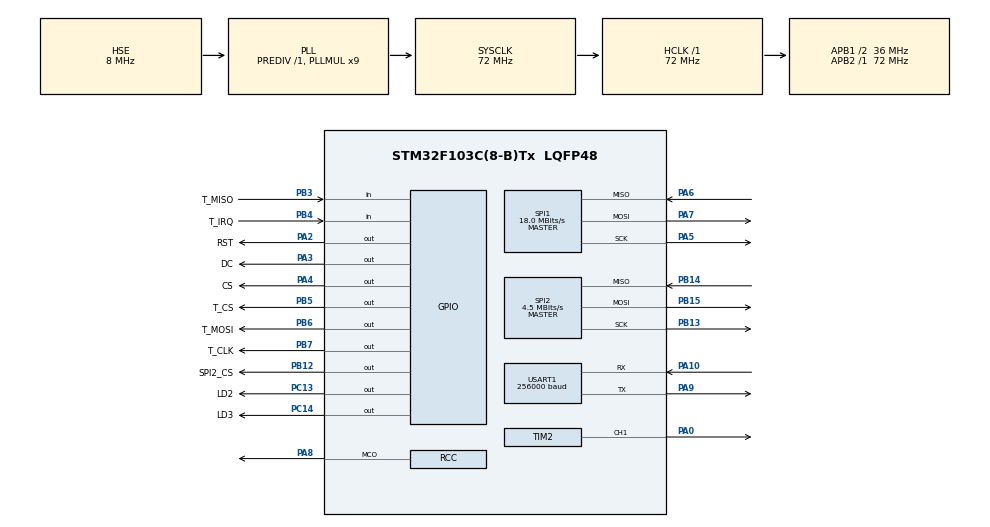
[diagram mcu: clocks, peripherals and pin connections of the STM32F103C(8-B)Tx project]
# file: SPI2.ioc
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FATFS._MAX_SS=4096
FATFS._USE_LFN=1
Mcu.Family=STM32F1
Mcu.Name=STM32F103C(8-B)Tx
Mcu.Package=LQFP48
NVIC.PriorityGroup=NVIC_PRIORITYGROUP_4
NVIC.SPI1_IRQn=true\:0\:0\:false\:false\:true\:true\:true
NVIC.TIM2_IRQn=true\:0\:0\:false\:false\:true\:true\:true
NVIC.USART1_IRQn=true\:0\:0\:false\:false\:true\:true\:true
PA0-WKUP.Signal=S_TIM2_CH1_ETR
PA10.Mode=Asynchronous
PA10.Signal=USART1_RX
PA13.Mode=Serial_Wire
PA13.Signal=SYS_JTMS-SWDIO
PA14.Mode=Serial_Wire
PA14.Signal=SYS_JTCK-SWCLK
PA2.GPIO_Label=RST
PA2.GPIO_PuPd=GPIO_NOPULL
PA2.GPIO_Speed=GPIO_SPEED_FREQ_HIGH
PA2.PinState=GPIO_PIN_SET
PA2.Signal=GPIO_Output
PA3.GPIO_Label=DC
PA3.GPIO_Speed=GPIO_SPEED_FREQ_HIGH
PA3.Signal=GPIO_Output
PA4.GPIO_Label=CS
PA4.GPIO_Speed=GPIO_SPEED_FREQ_HIGH
PA4.Signal=GPIO_Output
PA5.Mode=Full_Duplex_Master
PA5.Signal=SPI1_SCK
PA6.Mode=Full_Duplex_Master
PA6.Signal=SPI1_MISO
PA7.Mode=Full_Duplex_Master
PA7.Signal=SPI1_MOSI
PA8.Mode=Clock-out
PA8.Signal=RCC_MCO
PA9.Mode=Asynchronous
PA9.Signal=USART1_TX
PB12.GPIO_Label=SPI2_CS
PB12.PinState=GPIO_PIN_SET
PB12.Signal=GPIO_Output
PB13.Mode=Full_Duplex_Master
PB13.Signal=SPI2_SCK
PB14.Mode=Full_Duplex_Master
PB14.Signal=SPI2_MISO
PB15.Mode=Full_Duplex_Master
PB15.Signal=SPI2_MOSI
PB3.GPIO_Label=T_MISO
PB3.GPIO_PuPd=GPIO_PULLUP
PB3.Signal=GPIO_Input
PB4.GPIO_Label=T_IRQ
PB4.Signal=GPIO_Input
PB5.GPIO_Label=T_CS
PB5.GPIO_Speed=GPIO_SPEED_FREQ_HIGH
PB5.Signal=GPIO_Output
PB6.GPIO_Label=T_MOSI
PB6.GPIO_Speed=GPIO_SPEED_FREQ_HIGH
PB6.Signal=GPIO_Output
PB7.GPIO_Label=T_CLK
PB7.GPIO_Speed=GPIO_SPEED_FREQ_HIGH
PB7.Signal=GPIO_Output
PC13-TAMPER-RTC.GPIO_Label=LD2
PC13-TAMPER-RTC.GPIO_PuPd=GPIO_PULLUP
PC13-TAMPER-RTC.GPIO_Speed=GPIO_SPEED_FREQ_LOW
PC13-TAMPER-RTC.Signal=GPIO_Output
PC14-OSC32_IN.GPIO_Label=LD3
PC14-OSC32_IN.Signal=GPIO_Output
PD0-OSC_IN.Mode=HSE-External-Oscillator
PD0-OSC_IN.Signal=RCC_OSC_IN
PD1-OSC_OUT.Mode=HSE-External-Oscillator
PD1-OSC_OUT.Signal=RCC_OSC_OUT
ProjectManager.HeapSize=0x200
ProjectManager.StackSize=0x400
ProjectManager.TargetToolchain=TrueSTUDIO
RCC.AHBFreq_Value=72000000
RCC.APB1CLKDivider=RCC_HCLK_DIV2
RCC.APB1Freq_Value=36000000
RCC.APB1TimFreq_Value=72000000
RCC.APB2Freq_Value=72000000
RCC.APB2TimFreq_Value=72000000
RCC.HCLKFreq_Value=72000000
RCC.PLLMUL=RCC_PLL_MUL9
RCC.PLLSourceVirtual=RCC_PLLSOURCE_HSE
RCC.RCC_MCOSource=RCC_MCO1SOURCE_PLLCLK
RCC.SYSCLKFreq_VALUE=72000000
RCC.SYSCLKSource=RCC_SYSCLKSOURCE_PLLCLK
RCC.USBFreq_Value=72000000
SH.S_TIM2_CH1_ETR.0=TIM2_CH1,Output Compare1 CH1
SPI1.BaudRatePrescaler=SPI_BAUDRATEPRESCALER_4
SPI1.CRCCalculation=SPI_CRCCALCULATION_DISABLE
SPI1.CalculateBaudRate=18.0 MBits/s
SPI1.DataSize=SPI_DATASIZE_8BIT
SPI1.Direction=SPI_DIRECTION_2LINES
SPI1.Mode=SPI_MODE_MASTER
SPI1.VirtualType=VM_MASTER
SPI2.BaudRatePrescaler=SPI_BAUDRATEPRESCALER_8
SPI2.CalculateBaudRate=4.5 MBits/s
SPI2.Direction=SPI_DIRECTION_2LINES
SPI2.Mode=SPI_MODE_MASTER
SPI2.VirtualType=VM_MASTER
TIM1.ClockDivision=TIM_CLOCKDIVISION_DIV2
TIM1.Period=65535
TIM1.Prescaler=10000
TIM2.AutoReloadPreload=TIM_AUTORELOAD_PRELOAD_ENABLE
TIM2.Channel-Output\ Compare1\ CH1=TIM_CHANNEL_1
TIM2.ClockDivision=TIM_CLOCKDIVISION_DIV2
TIM2.OCMode_1=TIM_OCMODE_TOGGLE
TIM2.Period=1
TIM2.Prescaler=359
TIM2.Pulse-Output\ Compare1\ CH1=1
USART1.BaudRate=256000
USART1.VirtualMode=VM_ASYNC
VP_FATFS_VS_Generic.Mode=User_defined
VP_TIM1_VS_ClockSourceINT.Mode=Internal
VP_TIM2_VS_ClockSourceINT.Mode=Internal
board=custom

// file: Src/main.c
/* USER CODE BEGIN Header */
/**
 ******************************************************************************
 * @file           : main.c
 * @brief          : Main program body
 ******************************************************************************
 * @attention
 *
 * <h2><center>&copy; Copyright (c) 2019 STMicroelectronics.
 * All rights reserved.</center></h2>
 *
 * This software component is licensed by ST under BSD 3-Clause license,
 * the "License"; You may not use this file except in compliance with the
 * License. You may obtain a copy of the License at:
 *                        opensource.org/licenses/BSD-3-Clause
 *
 ******************************************************************************
 */
/* USER CODE END Header */

#include "main.h"
#include "fatfs.h"
#include "spi.h"
#include "tim.h"
#include "usart.h"
#include "gpio.h"

/* USER CODE BEGIN Includes */

#include "ILI9341_Touchscreen.h"

#include "ILI9341_STM32_Driver.h"
#include "ILI9341_GFX.h"

//#include "snow_tiger.h"
#include "string.h"

#include "stdlib.h"
#include "time.h"

/* USER CODE END Includes */

/* USER CODE BEGIN PV */
volatile uint16_t Timer1 = 0;
uint8_t sect[512];

//char buffer1[512] =		"Saleae makes high-performance, dead-simple-to-use USB Logic Analyzers that can record both digital and analog, and decode protocols like SPI, I2C, Serial, 1-Wire, CAN."; //Буфер данных для записи/чтения
/* USER CODE END PV */

void SystemClock_Config(void);
/* USER CODE BEGIN PFP */
void testLCD(void);
void testLCD_2(void);
void testLCD_3(void);

extern void SD_PowerOn(void);
extern uint8_t sd_ini(void);
extern uint8_t SD_Read_Block(uint8_t *buff, uint32_t lba);
extern uint8_t SD_Write_Block(uint8_t *buff, uint32_t lba);

/* USER CODE END PFP */

/* USER CODE BEGIN 0 */

/*
FRESULT ReadLongFile(void)

{
	uint16_t i = 0, i1 = 0;
	uint32_t ind = 0;
	uint32_t f_size = MyFile.fsize;
	sprintf(str1, "fsize: %lu\r\n", (unsigned long) f_size);
	HAL_UART_Transmit(&huart1, (uint8_t*) str1, strlen(str1), 0x1000);
	ind = 0;
	do
	{
		if (f_size < 512)
		{
			i1 = f_size;
		}
		else
		{
			i1 = 512;
		}
		f_size -= i1;
		f_lseek(&MyFile, ind);
		f_read(&MyFile, sect, i1, (UINT *) &bytesread);
		for (i = 0; i < bytesread; i++)
		{
			HAL_UART_Transmit(&huart1, sect + i, 1, 0x1000);
		}
		ind += i1;
	}
	while (f_size > 0);
	HAL_UART_Transmit(&huart1, (uint8_t*) "\r\n", 2, 0x1000);
	return FR_OK;

}

*/

void drawImageFromSD(uint16_t pixel) {
	static uint16_t width = 0, height = 0;
	ILI9341_Draw_Pixel(width, height, pixel);
	width++;
	if (width == 320) {
		width = 0;
		height++;
	}
}
/* USER CODE END 0 */

int main(void)
{

  /* MCU Configuration--------------------------------------------------------*/

  /* Reset of all peripherals, Initializes the Flash interface and the Systick. */
  HAL_Init();

  /* Configure the system clock */
  SystemClock_Config();

  /* Initialize all configured peripherals */
  MX_GPIO_Init();
  MX_SPI1_Init();
  MX_SPI2_Init();
  MX_TIM2_Init();
  MX_USART1_UART_Init();
  MX_FATFS_Init();
  MX_TIM1_Init();
  /* USER CODE BEGIN 2 */
	HAL_TIM_OC_Start(&htim2, TIM_CHANNEL_1);
	HAL_TIM_Base_Start_IT(&htim2);

	ILI9341_Init(); //initial driver setup to drive ili9341
	HAL_Delay(1000);

/*
	//ILI9341_Fill_Screen(RED);
	ILI9341_Set_Rotation(SCREEN_HORIZONTAL_2);

	//SD_Write_Block((uint8_t*)buffer1,0); //Запишем блок в буфер
	for (i = 0; i < 300; i++) {
		SD_Read_Block(sect, i); //Считаем блок из буфера
		for (int y = 0; y < 512; y+=2) {

			drawImageFromSD((*(sect+y)<<8)+*(sect+y+1));
//			HAL_UART_Transmit(&huart1, sect + y, 1, 0x1000);
//			HAL_UART_Transmit(&huart1, (uint8_t*) "\r\n", 2, 0x1000);
		}

	}

	*/

  /* USER CODE END 2 */

  /* Infinite loop */
	while (1) {

    /* USER CODE BEGIN 3 */
		testLCD();
	}
  /* USER CODE END 3 */
}

void SystemClock_Config(void)
{
  RCC_OscInitTypeDef RCC_OscInitStruct = {0};
  RCC_ClkInitTypeDef RCC_ClkInitStruct = {0};

  /** Initializes the CPU, AHB and APB busses clocks
  */
  RCC_OscInitStruct.OscillatorType = RCC_OSCILLATORTYPE_HSE;
  RCC_OscInitStruct.HSEState = RCC_HSE_ON;
  RCC_OscInitStruct.HSEPredivValue = RCC_HSE_PREDIV_DIV1;
  RCC_OscInitStruct.HSIState = RCC_HSI_ON;
  RCC_OscInitStruct.PLL.PLLState = RCC_PLL_ON;
  RCC_OscInitStruct.PLL.PLLSource = RCC_PLLSOURCE_HSE;
  RCC_OscInitStruct.PLL.PLLMUL = RCC_PLL_MUL9;
  if (HAL_RCC_OscConfig(&RCC_OscInitStruct) != HAL_OK)
  {
    Error_Handler();
  }
  /** Initializes the CPU, AHB and APB busses clocks
  */
  RCC_ClkInitStruct.ClockType = RCC_CLOCKTYPE_HCLK|RCC_CLOCKTYPE_SYSCLK
                              |RCC_CLOCKTYPE_PCLK1|RCC_CLOCKTYPE_PCLK2;
  RCC_ClkInitStruct.SYSCLKSource = RCC_SYSCLKSOURCE_PLLCLK;
  RCC_ClkInitStruct.AHBCLKDivider = RCC_SYSCLK_DIV1;
  RCC_ClkInitStruct.APB1CLKDivider = RCC_HCLK_DIV2;
  RCC_ClkInitStruct.APB2CLKDivider = RCC_HCLK_DIV1;

  if (HAL_RCC_ClockConfig(&RCC_ClkInitStruct, FLASH_LATENCY_2) != HAL_OK)
  {
    Error_Handler();
  }
  HAL_RCC_MCOConfig(RCC_MCO, RCC_MCO1SOURCE_PLLCLK, RCC_MCODIV_1);
}

/* USER CODE BEGIN 4 */

void testLCD(void) {

	srand(time(NULL));

	//----------------------------------------------------------PERFORMANCE TEST
	ILI9341_Fill_Screen(WHITE);
	ILI9341_Set_Rotation(SCREEN_HORIZONTAL_2);
	ILI9341_Draw_Text("FPS TEST, 40 loop 2 screens", 10, 10, BLACK, 1, WHITE);
	HAL_Delay(2000);
	ILI9341_Fill_Screen(WHITE);

	uint32_t Timer_Counter = 0;
	for (uint32_t j = 0; j < 2; j++) {
		HAL_TIM_Base_Start(&htim1);
		for (uint16_t i = 0; i < 10; i++) {
			ILI9341_Fill_Screen(WHITE);
			ILI9341_Fill_Screen(BLACK);
		}

		//20.000 per second!
		HAL_TIM_Base_Stop(&htim1);
		Timer_Counter += __HAL_TIM_GET_COUNTER(&htim1);
		__HAL_TIM_SET_COUNTER(&htim1, 0);
	}
	Timer_Counter /= 2;

	char counter_buff[30];
	ILI9341_Fill_Screen(WHITE);
	ILI9341_Set_Rotation(SCREEN_HORIZONTAL_2);
	sprintf(counter_buff, "Timer counter value: %d", Timer_Counter * 2);
	ILI9341_Draw_Text(counter_buff, 10, 10, BLACK, 1, WHITE);

	double seconds_passed = 2 * ((float) Timer_Counter / 20000);
	sprintf(counter_buff, "Time: %.3f Sec", seconds_passed);
	ILI9341_Draw_Text(counter_buff, 10, 30, BLACK, 2, WHITE);

	double timer_float = 20 / (((float) Timer_Counter) / 20000); //Frames per sec

	sprintf(counter_buff, "FPS:  %.2f", timer_float);
	ILI9341_Draw_Text(counter_buff, 10, 50, BLACK, 2, WHITE);
	double MB_PS = timer_float * 240 * 320 * 2 / 1000000;
	sprintf(counter_buff, "MB/S: %.2f", MB_PS);
	ILI9341_Draw_Text(counter_buff, 10, 70, BLACK, 2, WHITE);
	double SPI_utilized_percentage = (MB_PS / (6.25)) * 100; //50mbits / 8 bits
	sprintf(counter_buff, "SPI Utilized: %.2f", SPI_utilized_percentage);
	ILI9341_Draw_Text(counter_buff, 10, 90, BLACK, 2, WHITE);
	HAL_Delay(10000);

	static uint16_t x = 0;
	static uint16_t y = 0;

	char Temp_Buffer_text[40];

	//----------------------------------------------------------COUNTING MULTIPLE SEGMENTS
	ILI9341_Fill_Screen(WHITE);
	ILI9341_Set_Rotation(SCREEN_HORIZONTAL_2);
	ILI9341_Draw_Text("Counting multiple segments at once", 10, 10, BLACK, 1,
	WHITE);
	HAL_Delay(2000);
	ILI9341_Fill_Screen(WHITE);

	for (uint16_t i = 0; i <= 10; i++) {
		sprintf(Temp_Buffer_text, "Counting: %d", i);
		ILI9341_Draw_Text(Temp_Buffer_text, 10, 10, BLACK, 2, WHITE);
		ILI9341_Draw_Text(Temp_Buffer_text, 10, 30, BLUE, 2, WHITE);
		ILI9341_Draw_Text(Temp_Buffer_text, 10, 50, RED, 2, WHITE);
		ILI9341_Draw_Text(Temp_Buffer_text, 10, 70, GREEN, 2, WHITE);
		ILI9341_Draw_Text(Temp_Buffer_text, 10, 90, BLACK, 2, WHITE);
		ILI9341_Draw_Text(Temp_Buffer_text, 10, 110, BLUE, 2, WHITE);
		ILI9341_Draw_Text(Temp_Buffer_text, 10, 130, RED, 2, WHITE);
		ILI9341_Draw_Text(Temp_Buffer_text, 10, 150, GREEN, 2, WHITE);
		ILI9341_Draw_Text(Temp_Buffer_text, 10, 170, WHITE, 2, BLACK);
		ILI9341_Draw_Text(Temp_Buffer_text, 10, 190, BLUE, 2, BLACK);
		ILI9341_Draw_Text(Temp_Buffer_text, 10, 210, RED, 2, BLACK);
	}

	HAL_Delay(1000);

	//----------------------------------------------------------COUNTING SINGLE SEGMENT
	ILI9341_Fill_Screen(WHITE);
	ILI9341_Set_Rotation(SCREEN_HORIZONTAL_2);
	ILI9341_Draw_Text("Counting single segment", 10, 10, BLACK, 1, WHITE);
	HAL_Delay(2000);
	ILI9341_Fill_Screen(WHITE);

	for (uint16_t i = 0; i <= 100; i++) {
		sprintf(Temp_Buffer_text, "Counting: %d", i);
		ILI9341_Draw_Text(Temp_Buffer_text, 10, 10, BLACK, 3, WHITE);
	}

	HAL_Delay(1000);

	//----------------------------------------------------------ALIGNMENT TEST
	ILI9341_Fill_Screen(WHITE);
	ILI9341_Set_Rotation(SCREEN_HORIZONTAL_2);
	ILI9341_Draw_Text("Rectangle alignment check", 10, 10, BLACK, 1, WHITE);
	HAL_Delay(2000);
	ILI9341_Fill_Screen(WHITE);

	ILI9341_Draw_Hollow_Rectangle_Coord(50, 50, 100, 100, BLACK);
	ILI9341_Draw_Filled_Rectangle_Coord(20, 20, 50, 50, BLACK);
	ILI9341_Draw_Hollow_Rectangle_Coord(10, 10, 19, 19, BLACK);
	HAL_Delay(1000);

	//----------------------------------------------------------LINES EXAMPLE
	ILI9341_Fill_Screen(WHITE);
	ILI9341_Set_Rotation(SCREEN_HORIZONTAL_2);
	ILI9341_Draw_Text("Randomly placed and sized", 10, 10, BLACK, 1, WHITE);
	ILI9341_Draw_Text("Horizontal and Vertical lines", 10, 20, BLACK, 1, WHITE);
	HAL_Delay(2000);
	ILI9341_Fill_Screen(WHITE);

	for (uint32_t i = 0; i < 30000; i++) {
		uint32_t random_num = 0;
		uint16_t xr = 0;
		uint16_t yr = 0;
		uint16_t radiusr = 0;
		uint16_t colourr = 0;
		random_num = rand() % 320;
		xr = random_num;
		random_num = rand() % 320;
		yr = random_num;
		random_num = rand() % 320;
		radiusr = random_num;
		random_num = rand() % 0xffff;
		colourr = random_num;

		xr &= 0x01FF;
		yr &= 0x01FF;
		radiusr &= 0x001F;
		//ili9341_drawpixel(xr, yr, WHITE);
		ILI9341_Draw_Horizontal_Line(xr, yr, radiusr, colourr);
		ILI9341_Draw_Vertical_Line(xr, yr, radiusr, colourr);
	}

	HAL_Delay(1000);

	//----------------------------------------------------------HOLLOW CIRCLES EXAMPLE
	ILI9341_Fill_Screen(WHITE);
	ILI9341_Set_Rotation(SCREEN_HORIZONTAL_2);
	ILI9341_Draw_Text("Randomly placed and sized", 10, 10, BLACK, 1, WHITE);
	ILI9341_Draw_Text("Circles", 10, 20, BLACK, 1, WHITE);
	HAL_Delay(2000);
	ILI9341_Fill_Screen(WHITE);

	for (uint32_t i = 0; i < 3000; i++) {
		uint32_t random_num = 0;
		uint16_t xr = 0;
		uint16_t yr = 0;
		uint16_t radiusr = 0;
		uint16_t colourr = 0;
		random_num = rand() % 320;
		xr = random_num;
		random_num = rand() % 320;
		yr = random_num;
		random_num = rand() % 320;
		radiusr = random_num;
		random_num = rand() % 0xffff;
		colourr = random_num;

		xr &= 0x01FF;
		yr &= 0x01FF;
		radiusr &= 0x001F;
		//ili9341_drawpixel(xr, yr, WHITE);
		ILI9341_Draw_Hollow_Circle(xr, yr, radiusr * 2, colourr);
	}
	HAL_Delay(1000);

	//----------------------------------------------------------FILLED CIRCLES EXAMPLE
	ILI9341_Fill_Screen(WHITE);
	ILI9341_Set_Rotation(SCREEN_HORIZONTAL_2);
	ILI9341_Draw_Text("Randomly placed and sized", 10, 10, BLACK, 1, WHITE);
	ILI9341_Draw_Text("Filled Circles", 10, 20, BLACK, 1, WHITE);
	HAL_Delay(2000);
	ILI9341_Fill_Screen(WHITE);

	for (uint32_t i = 0; i < 1000; i++) {
		uint32_t random_num = 0;
		uint16_t xr = 0;
		uint16_t yr = 0;
		uint16_t radiusr = 0;
		uint16_t colourr = 0;
		random_num = rand() % 320;
		xr = random_num;
		random_num = rand() % 320;
		yr = random_num;
		random_num = rand() % 320;
		radiusr = random_num;
		random_num = rand() % 0xffff;
		colourr = random_num;

		xr &= 0x01FF;
		yr &= 0x01FF;
		radiusr &= 0x001F;
		//ili9341_drawpixel(xr, yr, WHITE);
		ILI9341_Draw_Filled_Circle(xr, yr, radiusr / 2, colourr);
	}
	HAL_Delay(1000);

	//----------------------------------------------------------HOLLOW RECTANGLES EXAMPLE
	ILI9341_Fill_Screen(WHITE);
	ILI9341_Set_Rotation(SCREEN_HORIZONTAL_2);
	ILI9341_Draw_Text("Randomly placed and sized", 10, 10, BLACK, 1, WHITE);
	ILI9341_Draw_Text("Rectangles", 10, 20, BLACK, 1, WHITE);
	HAL_Delay(2000);
	ILI9341_Fill_Screen(WHITE);

	for (uint32_t i = 0; i < 20000; i++) {
		uint32_t random_num = 0;
		uint16_t xr = 0;
		uint16_t yr = 0;
		uint16_t radiusr = 0;
		uint16_t colourr = 0;
		random_num = rand() % 320;
		xr = random_num;
		random_num = rand() % 320;
		yr = random_num;
		random_num = rand() % 320;
		radiusr = random_num;
		random_num = rand() % 0xffff;
		colourr = random_num;

		xr &= 0x01FF;
		yr &= 0x01FF;
		radiusr &= 0x001F;
		//ili9341_drawpixel(xr, yr, WHITE);
		ILI9341_Draw_Hollow_Rectangle_Coord(xr, yr, xr + radiusr, yr + radiusr,
				colourr);
	}
	HAL_Delay(1000);

	//----------------------------------------------------------FILLED RECTANGLES EXAMPLE
	ILI9341_Fill_Screen(WHITE);
	ILI9341_Set_Rotation(SCREEN_HORIZONTAL_2);
	ILI9341_Draw_Text("Randomly placed and sized", 10, 10, BLACK, 1, WHITE);
	ILI9341_Draw_Text("Filled Rectangles", 10, 20, BLACK, 1, WHITE);
	HAL_Delay(2000);
	ILI9341_Fill_Screen(WHITE);

	for (uint32_t i = 0; i < 20000; i++) {
		uint32_t random_num = 0;
		uint16_t xr = 0;
		uint16_t yr = 0;
		uint16_t radiusr = 0;
		uint16_t colourr = 0;
		random_num = rand() % 320;
		xr = random_num;
		random_num = rand() % 320;
		yr = random_num;
		random_num = rand() % 320;
		radiusr = random_num;
		random_num = rand() % 0xffff;
		colourr = random_num;

		xr &= 0x01FF;
		yr &= 0x01FF;
		radiusr &= 0x001F;
		//ili9341_drawpixel(xr, yr, WHITE);
		ILI9341_Draw_Rectangle(xr, yr, radiusr, radiusr, colourr);
	}
	HAL_Delay(1000);

	//----------------------------------------------------------INDIVIDUAL PIXEL EXAMPLE

	ILI9341_Fill_Screen(WHITE);
	ILI9341_Set_Rotation(SCREEN_HORIZONTAL_2);
	ILI9341_Draw_Text("Slow draw by selecting", 10, 10, BLACK, 1, WHITE);
	ILI9341_Draw_Text("and adressing pixels", 10, 20, BLACK, 1, WHITE);
	HAL_Delay(2000);
	ILI9341_Fill_Screen(WHITE);

	x = 0;
	y = 0;
	while (y < 240) {
		while ((x < 320) && (y < 240)) {

			if (x % 2) {
				ILI9341_Draw_Pixel(x, y, BLACK);
			}

			x++;
		}

		y++;
		x = 0;
	}

	x = 0;
	y = 0;

	while (y < 240) {
		while ((x < 320) && (y < 240)) {

			if (y % 2) {
				ILI9341_Draw_Pixel(x, y, BLACK);
			}

			x++;
		}

		y++;
		x = 0;
	}
	HAL_Delay(2000);

	//----------------------------------------------------------INDIVIDUAL PIXEL EXAMPLE
	ILI9341_Fill_Screen(WHITE);
	ILI9341_Set_Rotation(SCREEN_HORIZONTAL_2);
	ILI9341_Draw_Text("Random position and colour", 10, 10, BLACK, 1, WHITE);
	ILI9341_Draw_Text("500000 pixels", 10, 20, BLACK, 1, WHITE);
	HAL_Delay(2000);
	ILI9341_Fill_Screen(WHITE);

	for (uint32_t i = 0; i < 500000; i++) {
		uint32_t random_num = 0;
		uint16_t xr = 0;
		uint16_t yr = 0;
		random_num = rand() % 240;
		xr = random_num;
		random_num = rand() % 320;
		yr = random_num;
		uint16_t color = rand() % 0xffff;

		xr &= 0x01FF;
		yr &= 0x01FF;
		ILI9341_Draw_Pixel(xr, yr, color);
	}
	HAL_Delay(2000);

	//----------------------------------------------------------565 COLOUR EXAMPLE, Grayscale
	ILI9341_Fill_Screen(WHITE);
	ILI9341_Set_Rotation(SCREEN_HORIZONTAL_2);
	ILI9341_Draw_Text("Colour gradient", 10, 10, BLACK, 1, WHITE);
	ILI9341_Draw_Text("Grayscale", 10, 20, BLACK, 1, WHITE);
	HAL_Delay(2000);

	for (uint16_t i = 0; i <= (320); i++) {
		uint16_t Red = 0;
		uint16_t Green = 0;
		uint16_t Blue = 0;

		Red = i / (10);
		Red <<= 11;
		Green = i / (5);
		Green <<= 5;
		Blue = i / (10);

		uint16_t RGB_color = Red + Green + Blue;
		ILI9341_Draw_Rectangle(i, x, 1, 240, RGB_color);

	}
	HAL_Delay(2000);

}

void testLCD_2(void) {
	srand(time(NULL));

	//----------------------------------------------------------FILLED CIRCLES EXAMPLE
	ILI9341_Fill_Screen(WHITE);
	ILI9341_Set_Rotation(SCREEN_HORIZONTAL_2);

	for (uint32_t i = 0; i < 10000; i++) {

		uint32_t random_num = 0;
		uint16_t xr = 0;
		uint16_t yr = 0;
		uint16_t radiusr = 0;
		uint16_t colourr = 0;
		random_num = rand() % 320;
		xr = random_num;
		random_num = rand() % 320;
		yr = random_num;
		random_num = rand() % 1000;
		radiusr = random_num;
		random_num = rand() % 0xffff;
		colourr = random_num;

		xr &= 0x01FF;
		yr &= 0x01FF;
		radiusr &= 0x001F;
		//ili9341_drawpixel(xr, yr, WHITE);
		ILI9341_Draw_Filled_Circle(xr, yr, radiusr / 2, colourr);
	}
	HAL_Delay(500);
}

void testLCD_3(void) {

	//----------------------------------------------------------TOUCHSCREEN EXAMPLE
	ILI9341_Fill_Screen(WHITE);
	ILI9341_Set_Rotation(SCREEN_HORIZONTAL_2);
	ILI9341_Draw_Text("Touchscreen", 10, 10, BLACK, 2, WHITE);
	ILI9341_Draw_Text("Touch to draw", 10, 30, BLACK, 2, WHITE);
	ILI9341_Set_Rotation(SCREEN_VERTICAL_1);

	while (1) {

		if (TP_Touchpad_Pressed()) {

			uint16_t x_pos = 0;
			uint16_t y_pos = 0;

			//HAL_GPIO_WritePin(GPIOB, LD3_Pin | LD2_Pin, GPIO_PIN_SET);

			uint16_t position_array[2];

			if (TP_Read_Coordinates(position_array) == TOUCHPAD_DATA_OK) {
				x_pos = position_array[0];
				y_pos = position_array[1];
				ILI9341_Draw_Filled_Circle(x_pos, y_pos, 2, BLACK);

				ILI9341_Set_Rotation(SCREEN_HORIZONTAL_2);
				char counter_buff[30];
				sprintf(counter_buff, "POS X: %.3d", x_pos);
				ILI9341_Draw_Text(counter_buff, 10, 80, BLACK, 2, WHITE);
				sprintf(counter_buff, "POS Y: %.3d", y_pos);
				ILI9341_Draw_Text(counter_buff, 10, 120, BLACK, 2, WHITE);
				ILI9341_Set_Rotation(SCREEN_VERTICAL_1);
			}

			//ILI9341_Draw_Pixel(x_pos, y_pos, BLACK);

		} else {
			//HAL_GPIO_WritePin(GPIOB, LD3_Pin | LD2_Pin, GPIO_PIN_RESET);
		}

	}
}

void testLCD_4(void) {

}

void HAL_TIM_PeriodElapsedCallback(TIM_HandleTypeDef *htim) {
	if (htim == &htim2) {
		Timer1++;
	}
}

/* USER CODE END 4 */

void Error_Handler(void)
{
}

/************************ (C) COPYRIGHT STMicroelectronics *****END OF FILE****/
